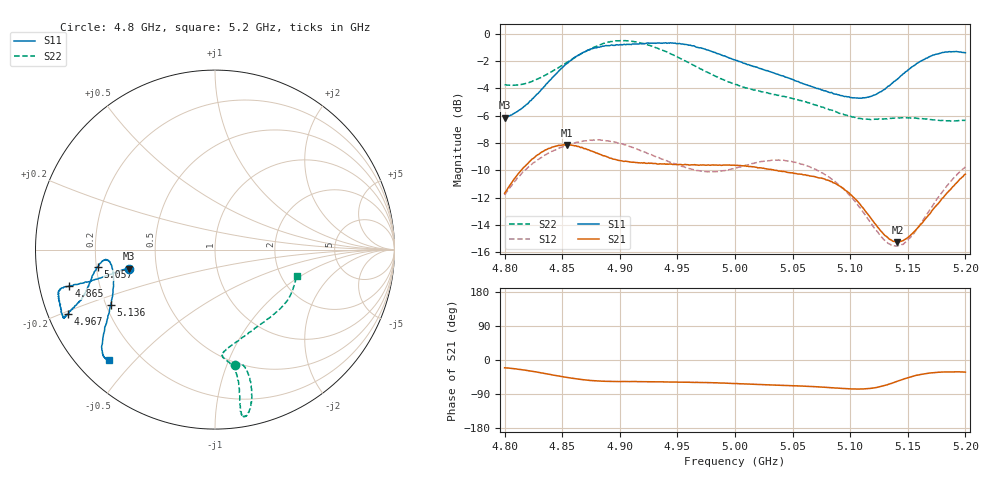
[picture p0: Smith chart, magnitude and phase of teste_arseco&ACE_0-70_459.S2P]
! Network Analyzer HP8722D
! Hewlett-Packard
! Data name: Linha & Wilkinson
! Saver's name: Rodrigo Anjos
! Comments: Teste da utilização de aquisição
! continua pelo VNA HP8722D
! Time and date: 8/5/2025 16:35
!  Frequency  S11  S21  S12  S22
# HZ  S  MA R 50
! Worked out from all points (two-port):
!   401 points, 4.8 GHz to 5.2 GHz, reference 50 ohm
!   highest |S21| = -8.13 dB at 4.854 GHz (marker M1); lowest = -15.2 dB at 5.141 GHz (marker M2)
!   |S21| within 3 dB of the highest: 4.804 GHz to 5.09 GHz (286.1 MHz wide, 5.78 % of centre); 5.190056 GHz to end of sweep
!   lowest |S11| = -6.1 dB at 4.8 GHz (marker M3), VSWR 2.95, Z = 17.2 - j4.83 ohm
!   |S11| at or under -10 dB: nowhere
!   |S22| runs from -6.4 to -0.5 dB; largest |S21 - S12| = 0.62
!   S11 on the Smith chart (normalised r, x): 4.8 GHz: 0.34, -0.10; 4.865 GHz: 0.09, -0.12; 4.967 GHz: 0.06, -0.21; 5.057 GHz: 0.21, -0.07; 5.136 GHz: 0.22, -0.24; 5.2 GHz: 0.09, -0.42
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4.8e9  0.4931 -167.5  0.2605 -20.5  0.2567 -141.6  0.6509 -80.2
4.826e9  0.5883 -166.8  0.3527 -30.9  0.3383 -145.7  0.6757 -75.7
4.854e9  0.778 -165.9  0.392 -46.0  0.3905 -150.8  0.7852 -75.1
4.865e9  0.8391 -166.0  0.3851 -50.8  0.4021 -152.5  0.8384 -75.8
4.867e9  0.8488 -166.0  0.3839 -51.7  0.4032 -152.7  0.8477 -76.0
4.879e9  0.889 -165.8  0.3667 -55.1  0.4078 -154.8  0.8986 -77.3
4.899e9  0.9096 -163.0  0.3437 -57.0  0.398 -157.1  0.9427 -79.6
4.915e9  0.9189 -159.7  0.3376 -57.1  0.3783 -157.5  0.9326 -80.9
4.934e9  0.9266 -156.6  0.3334 -57.7  0.3519 -155.8  0.8804 -80.8
4.967e9  0.8926 -156.5  0.3309 -59.1  0.3154 -148.2  0.7552 -80.0
5e9  0.8023 -159.3  0.3298 -62.2  0.3219 -137.6  0.6531 -81.5
5.032e9  0.7236 -165.0  0.318 -66.1  0.3444 -134.9  0.6025 -85.6
5.057e9  0.661 -171.4  0.3059 -68.7  0.3334 -136.7  0.5699 -84.9
5.067e9  0.6401 -173.3  0.3011 -69.9  0.3233 -137.5  0.5531 -82.6
5.085e9  0.6049 -174.6  0.285 -73.2  0.2916 -139.1  0.5231 -75.4
5.103e9  0.5828 -171.0  0.2514 -76.4  0.2465 -139.1  0.4959 -64.6
5.134e9  0.645 -153.3  0.1767 -63.6  0.1698 -119.1  0.4901 -42.9
5.136e9  0.657 -152.2  0.1752 -61.6  0.1675 -116.5  0.4901 -41.7
5.141e9  0.6826 -149.5  0.1728 -55.9  0.1667 -109.9  0.492 -38.8
5.154e9  0.7587 -144.1  0.1855 -43.1  0.1834 -94.0  0.4918 -32.1
5.17e9  0.8292 -139.6  0.2214 -34.1  0.2295 -82.0  0.4854 -25.4
5.2e9  0.853 -133.7  0.306 -31.9  0.3255 -77.5  0.482 -17.7
